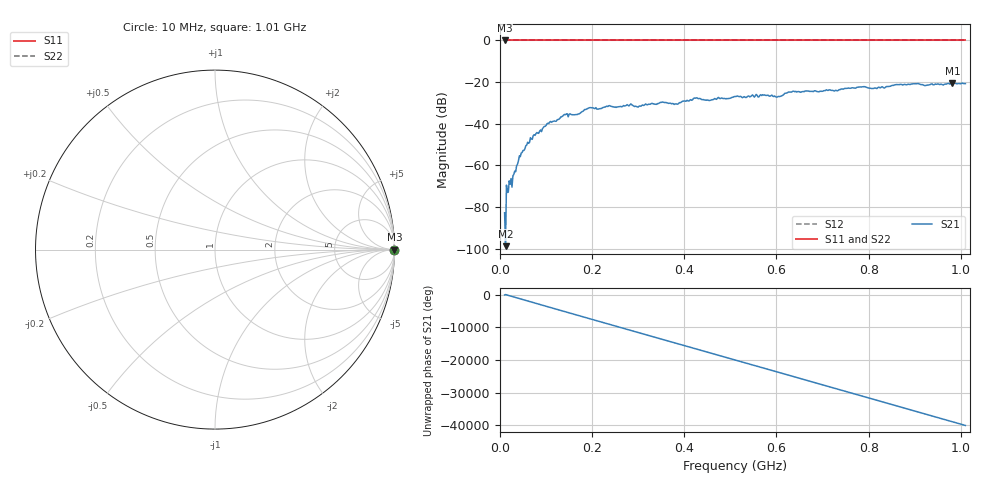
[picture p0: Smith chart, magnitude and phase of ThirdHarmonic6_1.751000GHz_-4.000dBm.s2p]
! 8/16/2025 9:07:11 PM
! C:\ANRITSUVNA\TEMP\TEMP.S2P
! CHANNEL.1
! TR.MEASUREMENT
! RAW.DATA
! RF.CORRECTION.OFF
! AVERAGING.OFF
! IF.BANDWIDTH: 5KHZ
! SWEEPTYPE:  FREQ.SWEEP(Linear)
! Reference Plane Port Info
! PORT:  PORT1  PORT2
! DISTANCE:  0  m  0  m
! TIME:  0  s  0  s
! PHASE.OFFSET:  0  deg.  0  deg.
! LOSS:  0  dB  0  dB
! REF.LOSS:  0  dB  0  dB
! REF.FREQ:  0  Hz  0  Hz
! Power Info
! POWER:  -20  dBm  -20  dBm
! EFF.POWER:  -20  dBm  -20  dBm
! SOURCE.ATTEN:  0  dB  0  dB
! TEST.ATTEN:  0  dB  0  dB
# GHZ S RI R 50.0
! FREQ.GHZ  S11RE  S11IM  S21RE  S21IM  S12RE  S12IM  S22RE  S22IM
!; PortSelection: Port_12
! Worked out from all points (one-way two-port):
!   501 points, 10 MHz to 1.01 GHz, reference 50 ohm
!   highest |S21| = -20.51 dB at 982 MHz (marker M1); lowest = -98.9 dB at 12 MHz (marker M2)
!   lowest |S11| = 0.0 dB at 10 MHz (marker M3)
!   |S11| at or under -10 dB: nowhere
!   |S22| runs from 0.0 to 0.0 dB; largest |S21 - S12| = 1.1
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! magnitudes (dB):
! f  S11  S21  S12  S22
! 10 MHz  0.0  -82.8  0.0  0.0
! 12 MHz  0.0  -98.9  0.0  0.0
! 18 MHz  0.0  -72.9  0.0  0.0
! 30 MHz  0.0  -64.4  0.0  0.0
! 44 MHz  0.0  -55.9  0.0  0.0
! 70 MHz  0.0  -47.5  0.0  0.0
! 106 MHz  0.0  -39.9  0.0  0.0
! 142 MHz  0.0  -35.7  0.0  0.0
! 178 MHz  0.0  -34.2  0.0  0.0
! 196 MHz  0.0  -32.3  0.0  0.0
! 300 MHz  0.0  -32.0  0.0  0.0
! 344 MHz  0.0  -30.3  0.0  0.0
! 382 MHz  0.0  -30.5  0.0  0.0
! 424 MHz  0.0  -27.8  0.0  0.0
! 454 MHz  0.0  -28.9  0.0  0.0
! 510 MHz  0.0  -26.9  0.0  0.0
! 602 MHz  0.0  -27.2  0.0  0.0
! 634 MHz  0.0  -24.6  0.0  0.0
! 678 MHz  0.0  -24.5  0.0  0.0
! 844 MHz  0.0  -22.1  0.0  0.0
! 982 MHz  0.0  -20.5  0.0  0.0
! 1.01 GHz  0.0  -20.7  0.0  0.0
